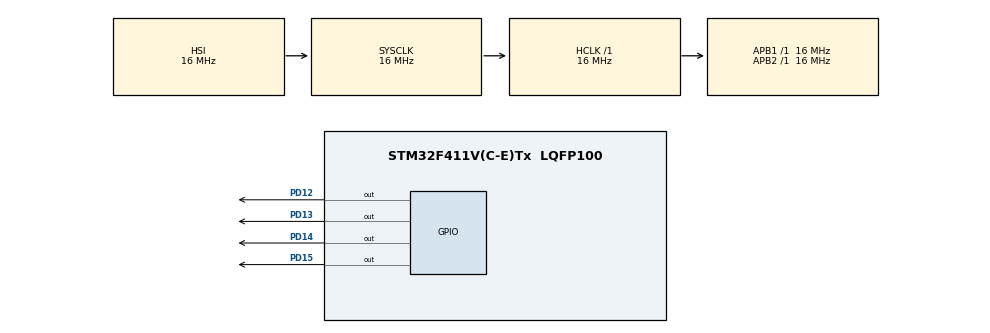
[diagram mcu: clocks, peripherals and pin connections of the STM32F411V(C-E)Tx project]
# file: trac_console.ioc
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FREERTOS.Tasks01=Task1,24,128,StartTask1,Default,NULL,Dynamic,NULL,NULL;Task2,8,128,StartTask2,Default,NULL,Dynamic,NULL,NULL
Mcu.Family=STM32F4
Mcu.Name=STM32F411V(C-E)Tx
Mcu.Package=LQFP100
NVIC.PriorityGroup=NVIC_PRIORITYGROUP_4
NVIC.TIM4_IRQn=true\:15\:0\:false\:false\:true\:false\:false\:true\:true
NVIC.TimeBase=TIM4_IRQn
NVIC.TimeBaseIP=TIM4
PA13.Mode=Trace_Asynchronous_SW
PA13.Signal=SYS_JTMS-SWDIO
PA14.Mode=Trace_Asynchronous_SW
PA14.Signal=SYS_JTCK-SWCLK
PB3.Mode=Trace_Asynchronous_SW
PB3.Signal=SYS_JTDO-SWO
PD12.Signal=GPIO_Output
PD13.Signal=GPIO_Output
PD14.Signal=GPIO_Output
PD15.Signal=GPIO_Output
ProjectManager.HeapSize=0x200
ProjectManager.StackSize=0x400
ProjectManager.TargetToolchain=STM32CubeIDE
RCC.AHBFreq_Value=16000000
RCC.APB1Freq_Value=16000000
RCC.APB2Freq_Value=16000000
RCC.CortexFreq_Value=16000000
RCC.HSE_VALUE=25000000
RCC.HSI_VALUE=16000000
RCC.LSE_VALUE=32768
RCC.SYSCLKFreq_VALUE=16000000
RCC.VCOOutputFreq_Value=192000000
VP_FREERTOS_VS_CMSIS_V2.Mode=CMSIS_V2
VP_SYS_VS_tim4.Mode=TIM4
board=custom

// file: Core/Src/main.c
/* USER CODE BEGIN Header */
/**
  ******************************************************************************
  * @file           : main.c
  * @brief          : Main program body
  ******************************************************************************
  * @attention
  *
  * Copyright (c) 2023 STMicroelectronics.
  * All rights reserved.
  *
  * This software is licensed under terms that can be found in the LICENSE file
  * in the root directory of this software component.
  * If no LICENSE file comes with this software, it is provided AS-IS.
  *
  ******************************************************************************
  */
/* USER CODE END Header */
#include "main.h"
#include "cmsis_os.h"

/* USER CODE BEGIN Includes */
#include<stdio.h>

/* USER CODE END Includes */

/* USER CODE BEGIN PM */
float temp_global = 0;

/* USER CODE END PM */

/* Definitions for Task1 */
osThreadId_t Task1Handle;
const osThreadAttr_t Task1_attributes = {
  .name = "Task1",
  .stack_size = 128 * 4,
  .priority = (osPriority_t) osPriorityNormal,
};
/* Definitions for Task2 */
osThreadId_t Task2Handle;
const osThreadAttr_t Task2_attributes = {
  .name = "Task2",
  .stack_size = 128 * 4,
  .priority = (osPriority_t) osPriorityLow,
};
/* USER CODE BEGIN PV */
float temp = 0;

void ADC_Init()
{
	__HAL_RCC_GPIOA_CLK_ENABLE();
	uint32_t* MODER = (uint32_t*)0x40020000;
	*MODER |= (0b11<<0);

	__HAL_RCC_ADC1_CLK_ENABLE();
	uint32_t* SMPR1 = (uint32_t*)0x4001200c;
	*SMPR1 |= (0b111<<18);
	uint32_t* SMPR2 = (uint32_t*)0x40012010;
	*SMPR2 |= (0b111<<0);

	uint32_t* JSQR = (uint32_t*)0x40012038;
	*JSQR |= (16<<15); //set channel 16 (temp sensor)

//	uint32_t* CR1 = (uint32_t*)0x40012004;
	uint32_t* CR2 = (uint32_t*)0x40012008;
	*CR2 |= (0b01 << 20) |(1<<0);

	uint32_t* CCR = (uint32_t*)0x40012304;
	*CCR |= (1<<23);
}
uint16_t Read_ADC ()
{
	uint32_t* CR2 = (uint32_t*)0x40012008;
	*CR2 |= (1<<22);
	uint32_t* SR = (uint32_t*)0x40012000;
	while (((*SR >> 2)&1) == 0){osDelay(1);};
	*SR &=~(1<<2);

	uint32_t* JDR1 = (uint32_t*)0x4001203c;
	return *JDR1;
}

void UART_Init()
{
	__HAL_RCC_GPIOA_CLK_ENABLE();
	__HAL_RCC_USART2_CLK_ENABLE();

	uint32_t* GPIOA_MODER = (uint32_t*)0x40020000;
	*GPIOA_MODER &= ~(0b1111 << 4); // set PIN2,3
	*GPIOA_MODER |= (0b10 << 4) | (0b10 << 6);// Pin2,3 Analog
	uint32_t* GPIOA_AFRL = (uint32_t*)0x40020020;
	*GPIOA_AFRL |= (7 << 8) | (7 << 12);

	// set baud rate 9600
	uint32_t* UART2_BRR = (uint32_t*)0x40004408;
	*UART2_BRR = (104 << 4) | 3;

	//set 13 enable UART, set 2 r/w enable TX, set 3 r/w enable RX
	// set 5 enable Interrupt of UART
	//size 8 byte and check chan le
	uint32_t* UART2_CR1 = (uint32_t*)0x4000440c;
	*UART2_CR1 |= (0b1 << 13) | (0b1 << 2) | (0b1 << 3);// | (0b1 << 5);

	//set enable DMA of UART
//	uint32_t* UART2_CR3 = (uint32_t*)0x40004414;
//	*UART2_CR3 |= (0b1 << 6);
}

void UART_Send_1Byte(char data)
{
	uint32_t* DR = (uint32_t*)0x40004404;
	uint32_t* SR = (uint32_t*)0x40004400;
	while(((*SR >> 7)&1) !=1){osDelay(1);};
	*DR = data;
	while(((*SR >> 6)&1) !=1);
}

void UART_Send_Str(char* data)
{

	int str_len = strlen(data);
	for(int i =0; i < str_len; i++)
	{
		UART_Send_1Byte( data [i]);
	}

}

/* USER CODE END PV */

void SystemClock_Config(void);
static void MX_GPIO_Init(void);
void StartTask1(void *argument);
void StartTask2(void *argument);

int main(void)
{

  /* MCU Configuration--------------------------------------------------------*/

  /* Reset of all peripherals, Initializes the Flash interface and the Systick. */
  HAL_Init();

  /* Configure the system clock */
  SystemClock_Config();

  /* Initialize all configured peripherals */
  MX_GPIO_Init();

  /* Init scheduler */
  osKernelInitialize();

  /* Create the thread(s) */
  /* creation of Task1 */
  Task1Handle = osThreadNew(StartTask1, NULL, &Task1_attributes);

  /* creation of Task2 */
  Task2Handle = osThreadNew(StartTask2, NULL, &Task2_attributes);

  /* Start scheduler */
  osKernelStart();

  /* We should never get here as control is now taken by the scheduler */
  /* Infinite loop */
  while (1)
  {

  }
}

void SystemClock_Config(void)
{
  RCC_OscInitTypeDef RCC_OscInitStruct = {0};
  RCC_ClkInitTypeDef RCC_ClkInitStruct = {0};

  /** Configure the main internal regulator output voltage
  */
  __HAL_RCC_PWR_CLK_ENABLE();
  __HAL_PWR_VOLTAGESCALING_CONFIG(PWR_REGULATOR_VOLTAGE_SCALE1);

  /** Initializes the RCC Oscillators according to the specified parameters
  * in the RCC_OscInitTypeDef structure.
  */
  RCC_OscInitStruct.OscillatorType = RCC_OSCILLATORTYPE_HSI;
  RCC_OscInitStruct.HSIState = RCC_HSI_ON;
  RCC_OscInitStruct.HSICalibrationValue = RCC_HSICALIBRATION_DEFAULT;
  RCC_OscInitStruct.PLL.PLLState = RCC_PLL_NONE;
  if (HAL_RCC_OscConfig(&RCC_OscInitStruct) != HAL_OK)
  {
    Error_Handler();
  }

  /** Initializes the CPU, AHB and APB buses clocks
  */
  RCC_ClkInitStruct.ClockType = RCC_CLOCKTYPE_HCLK|RCC_CLOCKTYPE_SYSCLK
                              |RCC_CLOCKTYPE_PCLK1|RCC_CLOCKTYPE_PCLK2;
  RCC_ClkInitStruct.SYSCLKSource = RCC_SYSCLKSOURCE_HSI;
  RCC_ClkInitStruct.AHBCLKDivider = RCC_SYSCLK_DIV1;
  RCC_ClkInitStruct.APB1CLKDivider = RCC_HCLK_DIV1;
  RCC_ClkInitStruct.APB2CLKDivider = RCC_HCLK_DIV1;

  if (HAL_RCC_ClockConfig(&RCC_ClkInitStruct, FLASH_LATENCY_0) != HAL_OK)
  {
    Error_Handler();
  }
}

static void MX_GPIO_Init(void)
{
  GPIO_InitTypeDef GPIO_InitStruct = {0};

  /* GPIO Ports Clock Enable */
  __HAL_RCC_GPIOD_CLK_ENABLE();
  __HAL_RCC_GPIOA_CLK_ENABLE();
  __HAL_RCC_GPIOB_CLK_ENABLE();

  /*Configure GPIO pin Output Level */
  HAL_GPIO_WritePin(GPIOD, GPIO_PIN_12|GPIO_PIN_13|GPIO_PIN_14|GPIO_PIN_15, GPIO_PIN_RESET);

  /*Configure GPIO pins : PD12 PD13 PD14 PD15 */
  GPIO_InitStruct.Pin = GPIO_PIN_12|GPIO_PIN_13|GPIO_PIN_14|GPIO_PIN_15;
  GPIO_InitStruct.Mode = GPIO_MODE_OUTPUT_PP;
  GPIO_InitStruct.Pull = GPIO_NOPULL;
  GPIO_InitStruct.Speed = GPIO_SPEED_FREQ_LOW;
  HAL_GPIO_Init(GPIOD, &GPIO_InitStruct);

}

void StartTask1(void *argument)
{
  /* USER CODE BEGIN 5 */
	UART_Init();
	float temp = 0;
	ADC_Init();
	static int cnt = 0;
  /* Infinite loop */

  for(;;)
  {

    temp = temp_global;
	char msg[32] = {0};
	char frac = (int)((temp - (int)temp)*100);
	sprintf(msg, "temp: %d.%d *C\r\n", (int)temp, frac);
	HAL_GPIO_TogglePin(GPIOD, GPIO_PIN_14);
	for(int i =0; i < 10; i++)
	{
		cnt++;
	}

	printf("a\n");
	printf(msg, "temp: %d.%d *C\r\n", (int)temp, frac);
	UART_Send_Str(msg);
    osDelay(1000);
  }
  /* USER CODE END 5 */
}

void StartTask2(void *argument)
{
  /* USER CODE BEGIN StartTask2 */
	ADC_Init();

	uint16_t data_raw =0; Read_ADC();
	float vin = 0;
	float temp = 0;
  /* Infinite loop */

  for(;;)
  {

	data_raw = Read_ADC();
	vin = (data_raw*3.0)/4095.0;
	temp = ((vin - 0.76) / 0.0025) + 25;
    temp_global = temp ;

//	printf("temp, ", (int)temp);
	printf("b \n");
	printf("hello \r\n");
	UART_Send_Str("hello \r\n");
    osDelay(1000);
  }
  /* USER CODE END StartTask2 */
}

void HAL_TIM_PeriodElapsedCallback(TIM_HandleTypeDef *htim)
{
  if (htim->Instance == TIM4) {
    HAL_IncTick();
  }
}

void Error_Handler(void)
{
  __disable_irq();
  while (1)
  {
  }
}
